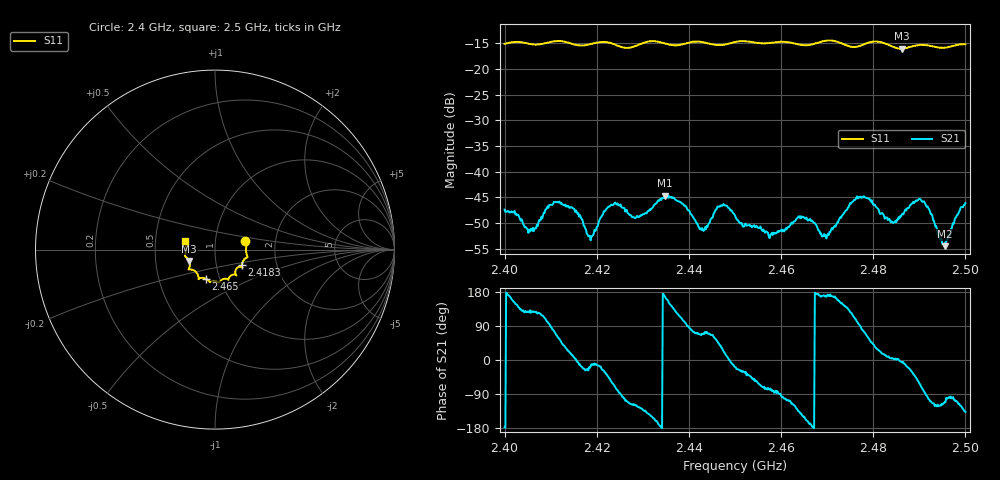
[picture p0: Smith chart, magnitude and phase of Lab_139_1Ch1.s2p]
# Hz S RI R 50
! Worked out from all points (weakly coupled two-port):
!   601 points, 2.4 GHz to 2.5 GHz, reference 50 ohm
!   highest |S21| = -44.67 dB at 2.4348 GHz (marker M1); lowest = -54.5 dB at 2.4955 GHz (marker M2)
!   lowest |S11| = -16.1 dB at 2.4862 GHz (marker M3), VSWR 1.37, Z = 37.1 - j4.8 ohm
!   |S11| at or under -10 dB: start of sweep to end of sweep
!   S12 and S22 are empty: the file has one direction only
!   S11 on the Smith chart (normalised r, x): 2.4 GHz: 1.40, +0.13; 2.4183 GHz: 1.33, -0.24; 2.465 GHz: 0.86, -0.29; 2.5 GHz: 0.71, +0.07
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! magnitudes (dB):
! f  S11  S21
! 2.4 GHz  -15.1  -47.4
! 2.4055 GHz  -15.1  -51.6
! 2.4112 GHz  -14.6  -46.0
! 2.4167 GHz  -15.5  -49.2
! 2.4183 GHz  -15.2  -52.6
! 2.4235 GHz  -15.1  -46.5
! 2.4287 GHz  -15.4  -48.7
! 2.4333 GHz  -14.7  -45.6
! 2.4348 GHz  -15.1  -44.7
! 2.4428 GHz  -14.8  -51.0
! 2.4467 GHz  -15.4  -46.9
! 2.45 GHz  -14.8  -48.5
! 2.4577 GHz  -15.0  -52.4
! 2.465 GHz  -15.4  -49.0
! 2.4667 GHz  -15.3  -49.6
! 2.47 GHz  -14.5  -52.4
! 2.4777 GHz  -15.3  -44.9
! 2.4833 GHz  -15.3  -49.2
! 2.4862 GHz  -16.1  -48.4
! 2.4905 GHz  -15.3  -45.8
! 2.4955 GHz  -15.9  -54.5
! 2.5 GHz  -15.2  -46.2
